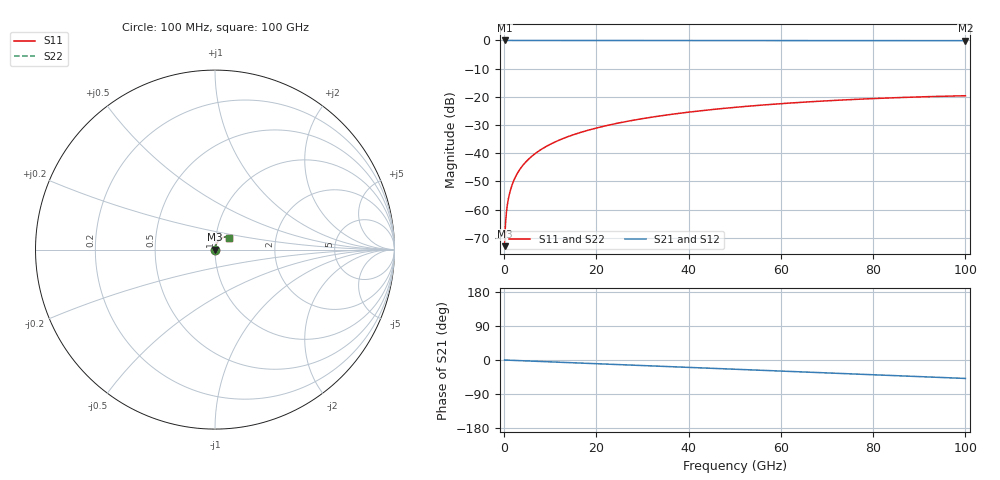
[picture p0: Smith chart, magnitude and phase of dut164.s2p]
! Touchstone file exported from HFSS 2026.1.0
!  File:  C:/ffzhzh/LocalFiles/Ansys_Project_Files/temp_train_TSV_164_1783506846_31944.aedt
!  Generated:  06:35:22 PM Jul  8, 2026
!  Design:  TSV
!  Project:  temp_train_TSV_164_1783506846_31944
! Variables:
!  h_bsmrdl = 2um
!  h_ox = 20um
!  h_rdl = 5um
!  h_sub = 96.03um
!  h_tmrdl = 5um
!  h_tsv = 96.03um
!  h_via = 3um
!  l_bsmrdl = 300um
!  l_sub = 422.1um
!  l_tmrdl = 200um
!  m_sub = 200um
!  pitch = 54.16um
!  r_tsv = 11.05um
!  s_tmrdl = 10um
!  w_bsmrdl = 18um
!  w_sub = 500um
!  w_tmrdl = 12um
!  x_tsv_center1 = 206um
!  x_tsv_center2 = 524um
!  x_tsv_center3 = 736um
!  x_tsv_center4 = 1054um
!  x_tsv_center5 = 1266um
!  x_tsv_center6 = 1584um
# GHz S MA R 50.000000
! Terminal data exported
! Port[1] = TSV1_1_T1
! Port[2] = TSV1_1_T2
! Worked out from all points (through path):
!   1000 points, 100 MHz to 100 GHz, reference 50 ohm
!   highest |S21| = 0.00 dB at 100 MHz (marker M1); lowest = -0.1 dB at 100 GHz (marker M2)
!   group delay of S21, straight-line fit = 1.35 ps
!   lowest |S11| = -73.0 dB at 100 MHz (marker M3), VSWR 1.00, Z = 50 + j0.0188 ohm
!   |S11| at or under -10 dB: start of sweep to end of sweep
!   |S22| runs from -73.0 to -19.6 dB; largest |S21 - S12| = 5.2e-15
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0.1  0.0002245 56.7  0.9999 -0.1  0.9999 -0.1  0.0002245 56.7
! Gamma 0 0 0 0
! Port Impedance 50 0 50 0
0.3  0.0005707 73.8  0.9998 -0.2  0.9998 -0.2  0.0005707 73.8
0.7  0.00122 77.8  0.9997 -0.4  0.9997 -0.4  0.00122 77.8
0.8  0.001373 78.3  0.9997 -0.4  0.9997 -0.4  0.001373 78.3
1  0.001674 79.1  0.9997 -0.5  0.9997 -0.5  0.001674 79.1
1.3  0.002119 80.0  0.9997 -0.7  0.9997 -0.7  0.002119 80.0
1.8  0.002854 81.0  0.9996 -0.9  0.9996 -0.9  0.002854 81.0
2.3  0.003582 81.6  0.9995 -1.1  0.9995 -1.1  0.003582 81.6
3  0.004592 82.0  0.9995 -1.5  0.9995 -1.5  0.004592 82.0
3.8  0.005734 82.2  0.9994 -1.9  0.9994 -1.9  0.005734 82.2
4.8  0.007148 82.3  0.9993 -2.4  0.9993 -2.4  0.007148 82.3
6  0.008834 82.3  0.9992 -3.0  0.9992 -3.0  0.008834 82.3
8.8  0.01274 81.7  0.999 -4.3  0.999 -4.3  0.01274 81.7
12.4  0.0177 80.4  0.9988 -6.1  0.9988 -6.1  0.0177 80.4
16.8  0.02368 78.7  0.9985 -8.2  0.9985 -8.2  0.02368 78.7
24.2  0.03353 75.6  0.9979 -11.8  0.9979 -11.8  0.03353 75.6
33.4  0.04535 71.5  0.9972 -16.3  0.9972 -16.3  0.04535 71.5
41.2  0.0549 67.9  0.9965 -20.1  0.9965 -20.1  0.0549 67.9
50.1  0.06516 63.8  0.9957 -24.4  0.9957 -24.4  0.06516 63.8
66.7  0.08207 56.0  0.9941 -32.5  0.9941 -32.5  0.08207 55.9
83.4  0.09553 48.0  0.9926 -40.6  0.9926 -40.6  0.09553 48.0
100  0.1045 40.1  0.9912 -48.7  0.9912 -48.7  0.1045 40.1
